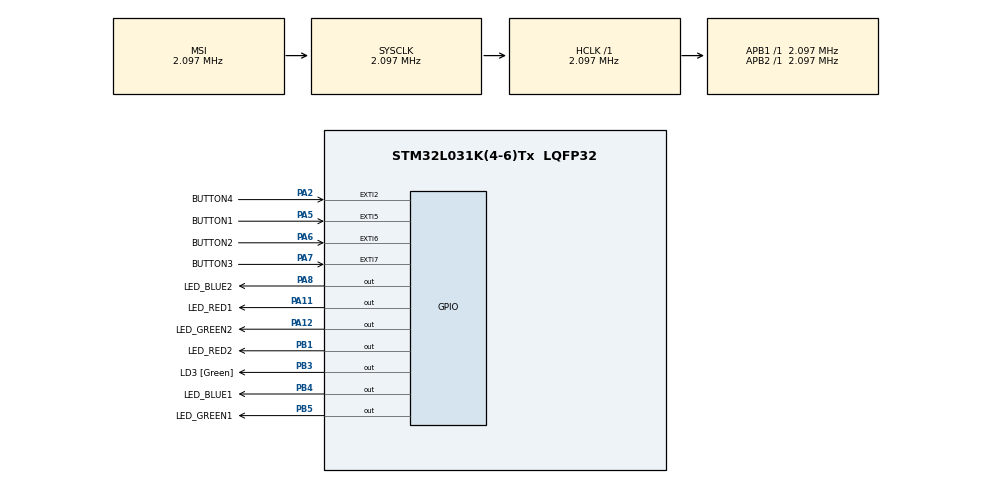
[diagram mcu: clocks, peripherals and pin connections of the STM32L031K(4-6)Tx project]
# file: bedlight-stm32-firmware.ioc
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Mcu.Family=STM32L0
Mcu.Name=STM32L031K(4-6)Tx
Mcu.Package=LQFP32
NVIC.EXTI2_3_IRQn=true\:0\:0\:false\:false\:true\:true\:true\:true
NVIC.EXTI4_15_IRQn=true\:0\:0\:false\:false\:true\:true\:true\:true
PA11.GPIO_Label=LED_RED1
PA11.Signal=GPIO_Output
PA12.GPIO_Label=LED_GREEN2
PA12.Signal=GPIO_Output
PA13.GPIO_Label=TMS
PA13.Mode=Serial_Wire
PA13.Signal=SYS_SWDIO
PA14.GPIO_Label=TCK
PA14.Mode=Serial_Wire
PA14.Signal=SYS_SWCLK
PA2.GPIO_Label=BUTTON4
PA2.GPIO_ModeDefaultEXTI=GPIO_MODE_IT_FALLING
PA2.GPIO_PuPd=GPIO_PULLUP
PA2.Signal=GPXTI2
PA5.GPIO_Label=BUTTON1
PA5.GPIO_ModeDefaultEXTI=GPIO_MODE_IT_FALLING
PA5.GPIO_PuPd=GPIO_PULLUP
PA5.Signal=GPXTI5
PA6.GPIO_Label=BUTTON2
PA6.GPIO_ModeDefaultEXTI=GPIO_MODE_IT_FALLING
PA6.GPIO_PuPd=GPIO_PULLUP
PA6.Signal=GPXTI6
PA7.GPIO_Label=BUTTON3
PA7.GPIO_ModeDefaultEXTI=GPIO_MODE_IT_FALLING
PA7.GPIO_PuPd=GPIO_PULLUP
PA7.Signal=GPXTI7
PA8.GPIO_Label=LED_BLUE2
PA8.Signal=GPIO_Output
PB1.GPIO_Label=LED_RED2
PB1.Signal=GPIO_Output
PB3.GPIO_Label=LD3 [Green]
PB3.Signal=GPIO_Output
PB4.GPIO_Label=LED_BLUE1
PB4.Signal=GPIO_Output
PB5.GPIO_Label=LED_GREEN1
PB5.Signal=GPIO_Output
PC14-OSC32_IN.Mode=LSE-External-Oscillator
PC14-OSC32_IN.Signal=RCC_OSC32_IN
PC15-OSC32_OUT.Mode=LSE-External-Oscillator
PC15-OSC32_OUT.Signal=RCC_OSC32_OUT
ProjectManager.HeapSize=0x200
ProjectManager.StackSize=0x400
ProjectManager.TargetToolchain=STM32CubeIDE
RCC.AHBFreq_Value=2097000
RCC.APB1Freq_Value=2097000
RCC.APB1TimFreq_Value=2097000
RCC.APB2Freq_Value=2097000
RCC.APB2TimFreq_Value=2097000
RCC.HCLKFreq_Value=2097000
RCC.HSE_VALUE=8000000
RCC.HSI16_VALUE=16000000
RCC.HSI48_VALUE=48000000
RCC.HSI_VALUE=16000000
RCC.MSI_VALUE=2097000
RCC.PLLMUL=RCC_PLLMUL_4
RCC.SYSCLKFreq_VALUE=2097000
RCC.VCOOutputFreq_Value=64000000
TIM21.Period=255
TIM21.Prescaler=0
TIM22.AutoReloadPreload=TIM_AUTORELOAD_PRELOAD_ENABLE
TIM22.ClockDivision=TIM_CLOCKDIVISION_DIV1
TIM22.Period=255
TIM22.Prescaler=0
VP_TIM21_VS_ClockSourceINT.Mode=Internal
VP_TIM22_VS_ClockSourceINT.Mode=Internal
board=NUCLEO-L031K6

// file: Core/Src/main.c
/* USER CODE BEGIN Header */
/**
  ******************************************************************************
  * @file           : main.c
  * @brief          : Main program body
  ******************************************************************************
  * @attention
  *
  * <h2><center>&copy; Copyright (c) 2020 STMicroelectronics.
  * All rights reserved.</center></h2>
  *
  * This software component is licensed by ST under BSD 3-Clause license,
  * the "License"; You may not use this file except in compliance with the
  * License. You may obtain a copy of the License at:
  *                        opensource.org/licenses/BSD-3-Clause
  *
  ******************************************************************************
  */
/* USER CODE END Header */
#include "main.h"
#include "tim.h"
#include "gpio.h"

/* USER CODE BEGIN Includes */
#include <stdlib.h>
#include "bedlight.h"
#include "pwm.h"
/* USER CODE END Includes */

void SystemClock_Config(void);

int main(void)
{

  /* MCU Configuration--------------------------------------------------------*/

  /* Reset of all peripherals, Initializes the Flash interface and the Systick. */
  HAL_Init();

  /* Configure the system clock */
  SystemClock_Config();

  /* Initialize all configured peripherals */
  MX_GPIO_Init();
  MX_TIM21_Init();
  MX_TIM22_Init();
  /* USER CODE BEGIN 2 */
  init_LEDs();

  HAL_TIM_PWM_Start(&htim22, TIM_CHANNEL_1);
  HAL_TIM_PWM_Start(&htim22, TIM_CHANNEL_2);
  HAL_TIM_PWM_Start(&htim21, TIM_CHANNEL_2);

  /* USER CODE END 2 */

  /* Infinite loop */
  /* USER CODE BEGIN WHILE */
  while (1)
  {
	  // if device is enabled
	  if (g_bedlight.power_off == 0)
	  {
		  if (g_bedlight.button1_flag)
		  {
			  button1_callback();
		  }

		  if (g_bedlight.button2_flag)
		  {
			  button2_callback();
		  }

		  if (g_bedlight.button3_flag)
		  {
			  button3_callback();
		  }

		  if (g_bedlight.button4_flag)
		  {
			  button4_callback();
		  }
	  }
	  else		// device disabled
	  {
		  if (	g_bedlight.button1_flag ||		// some button pressed
				g_bedlight.button2_flag ||
				g_bedlight.button3_flag ||
				g_bedlight.button4_flag)
		  {
			  g_bedlight.power_off = 0;		// wake up
		  }

		  else
		  {
			  //pwm(0, 0, 0);
			  HAL_GPIO_WritePin(g_bedlight.led.red_port, g_bedlight.led.red, GPIO_PIN_RESET);
			  HAL_GPIO_WritePin(g_bedlight.led.green_port, g_bedlight.led.green, GPIO_PIN_RESET);
			  HAL_GPIO_WritePin(g_bedlight.led.blue_port, g_bedlight.led.blue, GPIO_PIN_RESET);

		  }
	  }

	  cycle_callback();
    /* USER CODE END WHILE */

  }
}

void SystemClock_Config(void)
{
  RCC_OscInitTypeDef RCC_OscInitStruct = {0};
  RCC_ClkInitTypeDef RCC_ClkInitStruct = {0};

  /** Configure the main internal regulator output voltage
  */
  __HAL_PWR_VOLTAGESCALING_CONFIG(PWR_REGULATOR_VOLTAGE_SCALE1);
  /** Initializes the RCC Oscillators according to the specified parameters
  * in the RCC_OscInitTypeDef structure.
  */
  RCC_OscInitStruct.OscillatorType = RCC_OSCILLATORTYPE_MSI;
  RCC_OscInitStruct.MSIState = RCC_MSI_ON;
  RCC_OscInitStruct.MSICalibrationValue = 0;
  RCC_OscInitStruct.MSIClockRange = RCC_MSIRANGE_5;
  RCC_OscInitStruct.PLL.PLLState = RCC_PLL_NONE;
  if (HAL_RCC_OscConfig(&RCC_OscInitStruct) != HAL_OK)
  {
    Error_Handler();
  }
  /** Initializes the CPU, AHB and APB buses clocks
  */
  RCC_ClkInitStruct.ClockType = RCC_CLOCKTYPE_HCLK|RCC_CLOCKTYPE_SYSCLK
                              |RCC_CLOCKTYPE_PCLK1|RCC_CLOCKTYPE_PCLK2;
  RCC_ClkInitStruct.SYSCLKSource = RCC_SYSCLKSOURCE_MSI;
  RCC_ClkInitStruct.AHBCLKDivider = RCC_SYSCLK_DIV1;
  RCC_ClkInitStruct.APB1CLKDivider = RCC_HCLK_DIV1;
  RCC_ClkInitStruct.APB2CLKDivider = RCC_HCLK_DIV1;

  if (HAL_RCC_ClockConfig(&RCC_ClkInitStruct, FLASH_LATENCY_0) != HAL_OK)
  {
    Error_Handler();
  }
}

void Error_Handler(void)
{
}

/************************ (C) COPYRIGHT STMicroelectronics *****END OF FILE****/
